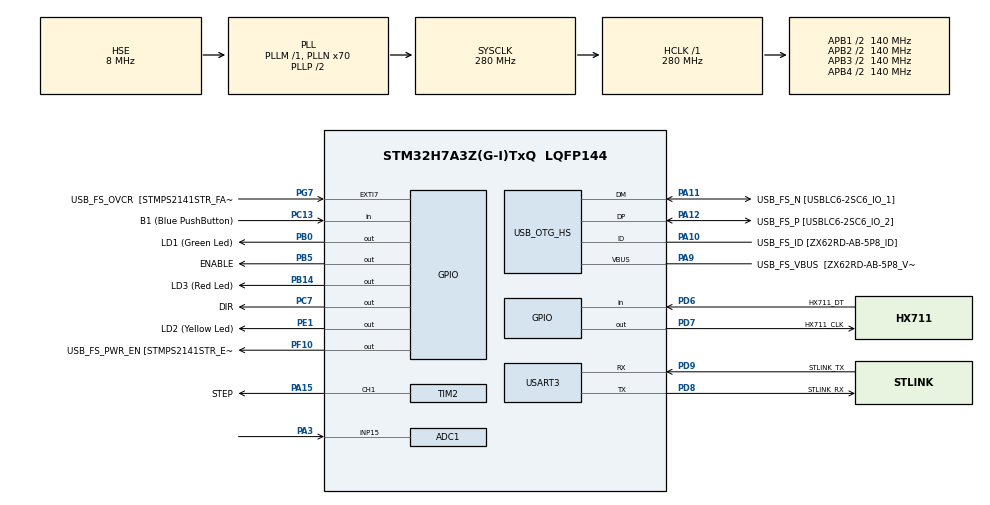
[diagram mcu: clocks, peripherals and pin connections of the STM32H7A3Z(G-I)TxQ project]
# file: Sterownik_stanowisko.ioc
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ADC1.Channel-4\#ChannelRegularConversion=ADC_CHANNEL_15
ADC1.ConversionDataManagement=ADC_CONVERSIONDATA_DMA_CIRCULAR
ADC1.ExternalTrigConv=ADC_EXTERNALTRIG_T3_TRGO
ADC1.NbrOfConversion=1
ADC1.NbrOfConversionFlag=1
ADC1.OffsetNumber-4\#ChannelRegularConversion=ADC_OFFSET_NONE
ADC1.OffsetSignedSaturation-4\#ChannelRegularConversion=DISABLE
ADC1.Rank-4\#ChannelRegularConversion=1
ADC1.SamplingTime-4\#ChannelRegularConversion=ADC_SAMPLETIME_810CYCLES_5
ADC1.master=1
Dma.ADC1.0.Direction=DMA_PERIPH_TO_MEMORY
Dma.ADC1.0.EventEnable=DISABLE
Dma.ADC1.0.FIFOMode=DMA_FIFOMODE_DISABLE
Dma.ADC1.0.Instance=DMA1_Stream0
Dma.ADC1.0.MemDataAlignment=DMA_MDATAALIGN_HALFWORD
Dma.ADC1.0.MemInc=DMA_MINC_ENABLE
Dma.ADC1.0.Mode=DMA_CIRCULAR
Dma.ADC1.0.PeriphDataAlignment=DMA_PDATAALIGN_HALFWORD
Dma.ADC1.0.PeriphInc=DMA_PINC_DISABLE
Dma.ADC1.0.Polarity=HAL_DMAMUX_REQ_GEN_RISING
Dma.ADC1.0.Priority=DMA_PRIORITY_LOW
Dma.ADC1.0.RequestNumber=1
Dma.ADC1.0.SignalID=NONE
Dma.ADC1.0.SyncEnable=DISABLE
Dma.ADC1.0.SyncPolarity=HAL_DMAMUX_SYNC_NO_EVENT
Dma.ADC1.0.SyncRequestNumber=1
Dma.ADC1.0.SyncSignalID=NONE
Dma.Request0=ADC1
Dma.Request1=USART3_TX
Dma.Request2=USART3_RX
Dma.USART3_RX.2.Direction=DMA_PERIPH_TO_MEMORY
Dma.USART3_RX.2.EventEnable=DISABLE
Dma.USART3_RX.2.FIFOMode=DMA_FIFOMODE_DISABLE
Dma.USART3_RX.2.Instance=DMA1_Stream2
Dma.USART3_RX.2.MemDataAlignment=DMA_MDATAALIGN_BYTE
Dma.USART3_RX.2.MemInc=DMA_MINC_ENABLE
Dma.USART3_RX.2.Mode=DMA_NORMAL
Dma.USART3_RX.2.PeriphDataAlignment=DMA_PDATAALIGN_BYTE
Dma.USART3_RX.2.PeriphInc=DMA_PINC_DISABLE
Dma.USART3_RX.2.Polarity=HAL_DMAMUX_REQ_GEN_RISING
Dma.USART3_RX.2.Priority=DMA_PRIORITY_HIGH
Dma.USART3_RX.2.RequestNumber=1
Dma.USART3_RX.2.SignalID=NONE
Dma.USART3_RX.2.SyncEnable=DISABLE
Dma.USART3_RX.2.SyncPolarity=HAL_DMAMUX_SYNC_NO_EVENT
Dma.USART3_RX.2.SyncRequestNumber=1
Dma.USART3_RX.2.SyncSignalID=NONE
Dma.USART3_TX.1.Direction=DMA_MEMORY_TO_PERIPH
Dma.USART3_TX.1.EventEnable=DISABLE
Dma.USART3_TX.1.FIFOMode=DMA_FIFOMODE_DISABLE
Dma.USART3_TX.1.Instance=DMA1_Stream1
Dma.USART3_TX.1.MemDataAlignment=DMA_MDATAALIGN_BYTE
Dma.USART3_TX.1.MemInc=DMA_MINC_ENABLE
Dma.USART3_TX.1.Mode=DMA_NORMAL
Dma.USART3_TX.1.PeriphDataAlignment=DMA_PDATAALIGN_BYTE
Dma.USART3_TX.1.PeriphInc=DMA_PINC_DISABLE
Dma.USART3_TX.1.Polarity=HAL_DMAMUX_REQ_GEN_RISING
Dma.USART3_TX.1.Priority=DMA_PRIORITY_HIGH
Dma.USART3_TX.1.RequestNumber=1
Dma.USART3_TX.1.SignalID=NONE
Dma.USART3_TX.1.SyncEnable=DISABLE
Dma.USART3_TX.1.SyncPolarity=HAL_DMAMUX_SYNC_NO_EVENT
Dma.USART3_TX.1.SyncRequestNumber=1
Dma.USART3_TX.1.SyncSignalID=NONE
Mcu.Family=STM32H7
Mcu.Name=STM32H7A3Z(G-I)TxQ
Mcu.Package=LQFP144
NVIC.DMA1_Stream0_IRQn=true\:0\:0\:false\:false\:true\:false\:true\:true
NVIC.DMA1_Stream1_IRQn=true\:0\:0\:false\:false\:true\:false\:true\:true
NVIC.DMA1_Stream2_IRQn=true\:0\:0\:false\:false\:true\:false\:true\:true
NVIC.PriorityGroup=NVIC_PRIORITYGROUP_4
NVIC.TIM1_UP_IRQn=true\:0\:0\:false\:false\:true\:true\:true\:true
NVIC.USART3_IRQn=true\:0\:0\:false\:false\:true\:true\:true\:true
PA10.GPIO_Label=USB_FS_ID [ZX62RD-AB-5P8_ID]
PA10.Mode=OTG/Dual-Role-Device-FS
PA10.Signal=USB_OTG_HS_ID
PA11.GPIO_Label=USB_FS_N [USBLC6-2SC6_IO_1]
PA11.Mode=OTG/Dual-Role-Device-FS
PA11.Signal=USB_OTG_HS_DM
PA12.GPIO_Label=USB_FS_P [USBLC6-2SC6_IO_2]
PA12.Mode=OTG/Dual-Role-Device-FS
PA12.Signal=USB_OTG_HS_DP
PA15.GPIO_Label=STEP
PA15.Signal=S_TIM2_CH1_ETR
PA3.Mode=IN15-Single-Ended
PA3.Signal=ADC1_INP15
PA9.GPIO_Label=USB_FS_VBUS  [ZX62RD-AB-5P8_VBUS]
PA9.Mode=Activate_VBUS_FS
PA9.Signal=USB_OTG_HS_VBUS
PB0.GPIO_Label=LD1 (Green Led)
PB0.Signal=GPIO_Output
PB14.GPIO_Label=LD3 (Red Led)
PB14.Signal=GPIO_Output
PB5.GPIO_Label=ENABLE
PB5.Signal=GPIO_Output
PC13.GPIO_Label=B1 (Blue PushButton)
PC13.Signal=GPIO_Input
PC14-OSC32_IN.GPIO_Label=OSC32_IN
PC14-OSC32_IN.Mode=LSE-External-Oscillator
PC14-OSC32_IN.Signal=RCC_OSC32_IN
PC15-OSC32_OUT.GPIO_Label=OSC32_OUT
PC15-OSC32_OUT.Mode=LSE-External-Oscillator
PC15-OSC32_OUT.Signal=RCC_OSC32_OUT
PC7.GPIO_Label=DIR
PC7.Signal=GPIO_Output
PD6.GPIO_Label=HX711_DT
PD6.Signal=GPIO_Input
PD7.GPIO_Label=HX711_CLK
PD7.GPIO_Speed=GPIO_SPEED_FREQ_LOW
PD7.Signal=GPIO_Output
PD8.GPIO_Label=STLINK_RX
PD8.Mode=Asynchronous
PD8.Signal=USART3_TX
PD9.GPIO_Label=STLINK_TX
PD9.Mode=Asynchronous
PD9.Signal=USART3_RX
PE1.GPIO_Label=LD2 (Yellow Led)
PE1.Signal=GPIO_Output
PF10.GPIO_Label=USB_FS_PWR_EN [STMPS2141STR_EN]
PF10.Signal=GPIO_Output
PG7.GPIO_Label=USB_FS_OVCR  [STMPS2141STR_FAULT]
PG7.Signal=GPXTI7
PH0-OSC_IN.GPIO_Label=PH0-MCU
PH0-OSC_IN.Mode=HSE-External-Clock-Source
PH0-OSC_IN.Signal=RCC_OSC_IN
PH1-OSC_OUT.GPIO_Label=PH1-MCU
PH1-OSC_OUT.Signal=RCC_OSC_OUT
ProjectManager.HeapSize=0x200
ProjectManager.StackSize=0x400
ProjectManager.TargetToolchain=STM32CubeIDE
RCC.ADCFreq_Value=42666666.666666664
RCC.APB1Freq_Value=140000000
RCC.APB2Freq_Value=140000000
RCC.APB3Freq_Value=140000000
RCC.APB4Freq_Value=140000000
RCC.CDPPRE=RCC_APB3_DIV2
RCC.CDPPRE1=RCC_APB1_DIV2
RCC.CDPPRE2=RCC_APB2_DIV2
RCC.CortexFreq_Value=280000000
RCC.DIVM1=1
RCC.DIVM2=1
RCC.DIVM3=1
RCC.DIVN1=70
RCC.DIVN2=16
RCC.DIVN3=24
RCC.DIVP2=3
RCC.DIVQ1=4
RCC.HCLKFreq_Value=280000000
RCC.HSE_VALUE=8000000
RCC.PLL2FRACN=0
RCC.PLLFRACN=0
RCC.PLLSourceVirtual=RCC_PLLSOURCE_HSE
RCC.PWR_Regulator_Voltage_Scale=PWR_REGULATOR_VOLTAGE_SCALE0
RCC.SRDPPRE=RCC_APB4_DIV2
RCC.SYSCLKFreq_VALUE=280000000
RCC.SYSCLKSource=RCC_SYSCLKSOURCE_PLLCLK
RCC.SupplySource=PWR_DIRECT_SMPS_SUPPLY
RCC.USBCLockSelection=RCC_USBCLKSOURCE_HSI48
RCC.USBFreq_Value=48000000
SH.S_TIM2_CH1_ETR.0=TIM2_CH1,PWM Generation1 CH1
TIM2.Channel-PWM\ Generation1\ CH1=TIM_CHANNEL_1
TIM2.Period=10000-1
TIM2.Prescaler=28-1
TIM2.Pulse-PWM\ Generation1\ CH1=5000
TIM2.TIM_MasterOutputTrigger=TIM_TRGO_OC1REF
TIM2.TIM_MasterSlaveMode=TIM_MASTERSLAVEMODE_ENABLE
TIM3.Period=100-1
TIM3.Prescaler=28000-1
TIM3.TIM_MasterOutputTrigger=TIM_TRGO_UPDATE
USART3.VirtualMode-Asynchronous=VM_ASYNC
VP_TIM1_VS_ClockSourceITR.Mode=TriggerSource_ITR1
VP_TIM1_VS_ControllerModeClock.Mode=Clock Mode
VP_TIM2_VS_ClockSourceINT.Mode=Internal
VP_TIM3_VS_ClockSourceINT.Mode=Internal
board=NUCLEO-H7A3ZI-Q

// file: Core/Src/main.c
/* USER CODE BEGIN Header */
/**
  ******************************************************************************
  * @file           : main.c
  * @brief          : Main program body
  ******************************************************************************
  * @attention
  *
  * <h2><center>&copy; Copyright (c) 2023 STMicroelectronics.
  * All rights reserved.</center></h2>
  *
  * This software component is licensed by ST under BSD 3-Clause license,
  * the "License"; You may not use this file except in compliance with the
  * License. You may obtain a copy of the License at:
  *                        opensource.org/licenses/BSD-3-Clause
  *
  ******************************************************************************
  */
/* USER CODE END Header */
#include "main.h"
#include "adc.h"
#include "dma.h"
#include "tim.h"
#include "usart.h"
#include "usb_otg.h"
#include "gpio.h"

/* USER CODE BEGIN Includes */
#include "sharp_ir_sensor.h"
#include "stdio.h"
#include "hx711.h"
#include "stepper.h"
#include "string.h"
#include "uart_handler.h"
/* USER CODE END Includes */

/* USER CODE BEGIN PV */
char text[300];
hx711_t loadcell;
stepper_t stepper;
/* USER CODE END PV */

void SystemClock_Config(void);

int main(void)
{

  /* MCU Configuration--------------------------------------------------------*/

  /* Reset of all peripherals, Initializes the Flash interface and the Systick. */
  HAL_Init();

  /* Configure the system clock */
  SystemClock_Config();

  /* Initialize all configured peripherals */
  MX_GPIO_Init();
  MX_DMA_Init();
  MX_USART3_UART_Init();
  MX_ADC1_Init();
  MX_USB_OTG_HS_USB_Init();
  MX_TIM3_Init();
  MX_TIM1_Init();
  MX_TIM2_Init();
  /* USER CODE BEGIN 2 */
  sharp_ir_sensor_start();
  hx711_init(&loadcell, HX711_CLK_GPIO_Port, HX711_DT_GPIO_Port, HX711_CLK_Pin, HX711_DT_Pin, 0);
  stepper_init(&stepper, &htim2, TIM_CHANNEL_1, &htim1, STEP_GPIO_Port, DIR_GPIO_Port, ENABLE_GPIO_Port, STEP_Pin, DIR_Pin, ENABLE_Pin);
  stepper_set_enable_LOW(&stepper);
  uart_handler_start_receiving();
  HAL_Delay(1000);
  hx711_tare(&loadcell);
  /* USER CODE END 2 */

  /* Infinite loop */
  /* USER CODE BEGIN WHILE */
  while (1)
  {
	  // serial port polling
	  if(uart_handler_get_data_received() == 1){
		  // protocol handle data
		  uart_handler_set_data_received(0);
		  uart_handler_start_receiving();
	  }
	  // state machine

    /* USER CODE END WHILE */

  }
}

void SystemClock_Config(void)
{
  RCC_OscInitTypeDef RCC_OscInitStruct = {0};
  RCC_ClkInitTypeDef RCC_ClkInitStruct = {0};

  /*AXI clock gating */
  RCC->CKGAENR = 0xFFFFFFFF;

  /** Supply configuration update enable
  */
  HAL_PWREx_ConfigSupply(PWR_DIRECT_SMPS_SUPPLY);

  /** Configure the main internal regulator output voltage
  */
  __HAL_PWR_VOLTAGESCALING_CONFIG(PWR_REGULATOR_VOLTAGE_SCALE0);

  while(!__HAL_PWR_GET_FLAG(PWR_FLAG_VOSRDY)) {}

  /** Initializes the RCC Oscillators according to the specified parameters
  * in the RCC_OscInitTypeDef structure.
  */
  RCC_OscInitStruct.OscillatorType = RCC_OSCILLATORTYPE_HSI48|RCC_OSCILLATORTYPE_HSE;
  RCC_OscInitStruct.HSEState = RCC_HSE_BYPASS;
  RCC_OscInitStruct.HSI48State = RCC_HSI48_ON;
  RCC_OscInitStruct.PLL.PLLState = RCC_PLL_ON;
  RCC_OscInitStruct.PLL.PLLSource = RCC_PLLSOURCE_HSE;
  RCC_OscInitStruct.PLL.PLLM = 1;
  RCC_OscInitStruct.PLL.PLLN = 70;
  RCC_OscInitStruct.PLL.PLLP = 2;
  RCC_OscInitStruct.PLL.PLLQ = 4;
  RCC_OscInitStruct.PLL.PLLR = 2;
  RCC_OscInitStruct.PLL.PLLRGE = RCC_PLL1VCIRANGE_3;
  RCC_OscInitStruct.PLL.PLLVCOSEL = RCC_PLL1VCOWIDE;
  RCC_OscInitStruct.PLL.PLLFRACN = 0;
  if (HAL_RCC_OscConfig(&RCC_OscInitStruct) != HAL_OK)
  {
    Error_Handler();
  }

  /** Initializes the CPU, AHB and APB buses clocks
  */
  RCC_ClkInitStruct.ClockType = RCC_CLOCKTYPE_HCLK|RCC_CLOCKTYPE_SYSCLK
                              |RCC_CLOCKTYPE_PCLK1|RCC_CLOCKTYPE_PCLK2
                              |RCC_CLOCKTYPE_D3PCLK1|RCC_CLOCKTYPE_D1PCLK1;
  RCC_ClkInitStruct.SYSCLKSource = RCC_SYSCLKSOURCE_PLLCLK;
  RCC_ClkInitStruct.SYSCLKDivider = RCC_SYSCLK_DIV1;
  RCC_ClkInitStruct.AHBCLKDivider = RCC_HCLK_DIV1;
  RCC_ClkInitStruct.APB3CLKDivider = RCC_APB3_DIV2;
  RCC_ClkInitStruct.APB1CLKDivider = RCC_APB1_DIV2;
  RCC_ClkInitStruct.APB2CLKDivider = RCC_APB2_DIV2;
  RCC_ClkInitStruct.APB4CLKDivider = RCC_APB4_DIV2;

  if (HAL_RCC_ClockConfig(&RCC_ClkInitStruct, FLASH_LATENCY_7) != HAL_OK)
  {
    Error_Handler();
  }
}

/* USER CODE BEGIN 4 */
void HAL_TIM_PeriodElapsedCallback(TIM_HandleTypeDef *htim){
	if(htim->Instance == stepper.slave_timer.htim->Instance){
		stepper_stop(&stepper);
	}
}
/* USER CODE END 4 */

void Error_Handler(void)
{
  __disable_irq();
  while (1)
  {
  }
}
